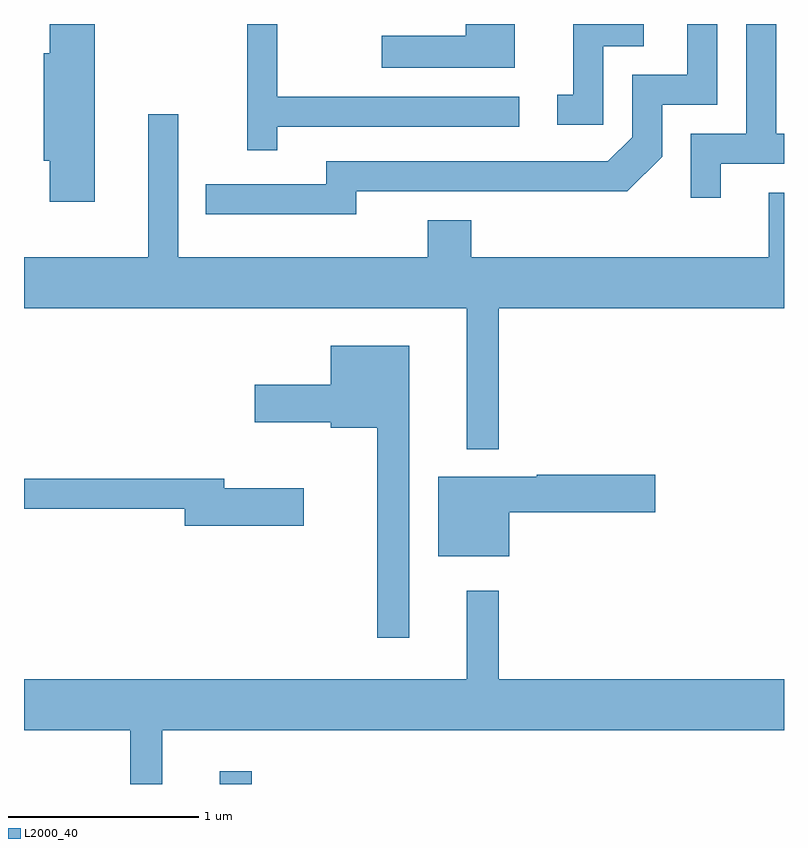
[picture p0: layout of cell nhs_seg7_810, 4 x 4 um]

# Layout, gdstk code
import gdstk
lib = gdstk.Library(unit=1e-6, precision=1e-09)
def R(c, l, rs):  # rectangles x0, y0, x1, y1
    for r in rs: c.add(gdstk.rectangle(r[:2], r[2:], *l))
def P(c, l, *ps):  # polygons
    for p in ps: c.add(gdstk.Polygon(p, *l))
L2000_40 = (2000, 40)

nhs_seg7_810 = lib.new_cell('nhs_seg7_810')
R(nhs_seg7_810, L2000_40, [(210.641,1716.252,210.809,1716.318)])
P(nhs_seg7_810, L2000_40, [(209.984,1720.252),(209.746,1720.252),(209.746,1720.099),(209.716,1720.099),(209.716,1719.531),(209.746,1719.531),(209.746,1719.316),(209.984,1719.316)],
  [(211.359,1719.371),(212.787,1719.371),(212.969,1719.554),(212.969,1719.826),(213.259,1719.826),(213.259,1720.252),(213.101,1720.252),(213.101,1719.984),(212.811,1719.984),(212.811,1719.657),(212.684,1719.529),(211.201,1719.529),(211.201,1719.409),(210.568,1719.409),(210.568,1719.251),(211.359,1719.251)],
  [(213.279,1719.516),(213.611,1719.516),(213.611,1719.674),(213.569,1719.674),(213.569,1720.252),(213.411,1720.252),(213.411,1719.674),(213.121,1719.674),(213.121,1719.338),(213.279,1719.338)],
  [(212.194,1720.252),(211.936,1720.252),(211.936,1720.189),(211.493,1720.189),(211.493,1720.021),(212.194,1720.021)],
  [(210.944,1719.711),(212.218,1719.711),(212.218,1719.869),(210.944,1719.869),(210.944,1720.252),(210.786,1720.252),(210.786,1719.588),(210.944,1719.588)],
  [(212.659,1720.136),(212.874,1720.136),(212.874,1720.252),(212.501,1720.252),(212.501,1719.879),(212.418,1719.879),(212.418,1719.721),(212.659,1719.721)],
  [(212.109,1718.756),(213.611,1718.756),(213.611,1719.364),(213.531,1719.364),(213.531,1719.024),(211.964,1719.024),(211.964,1719.219),(211.736,1719.219),(211.736,1719.024),(210.424,1719.024),(210.424,1719.778),(210.266,1719.778),(210.266,1719.024),(209.611,1719.024),(209.611,1718.756),(211.941,1718.756),(211.941,1718.013),(212.109,1718.013)],
  [(211.639,1718.559),(211.226,1718.559),(211.226,1718.354),(210.826,1718.354),(210.826,1718.156),(211.226,1718.156),(211.226,1718.126),(211.471,1718.126),(211.471,1717.023),(211.639,1717.023)],
  [(212.164,1717.681),(212.934,1717.681),(212.934,1717.879),(212.31,1717.879),(212.31,1717.869),(211.791,1717.869),(211.791,1717.451),(212.164,1717.451)],
  [(211.084,1717.809),(210.664,1717.809),(210.664,1717.859),(209.611,1717.859),(209.611,1717.701),(210.456,1717.701),(210.456,1717.611),(211.084,1717.611)],
  [(210.339,1716.536),(213.611,1716.536),(213.611,1716.804),(212.109,1716.804),(212.109,1717.268),(211.941,1717.268),(211.941,1716.804),(209.611,1716.804),(209.611,1716.536),(210.171,1716.536),(210.171,1716.252),(210.339,1716.252)])

lib.write_gds('nhs_seg7_810.gds')
